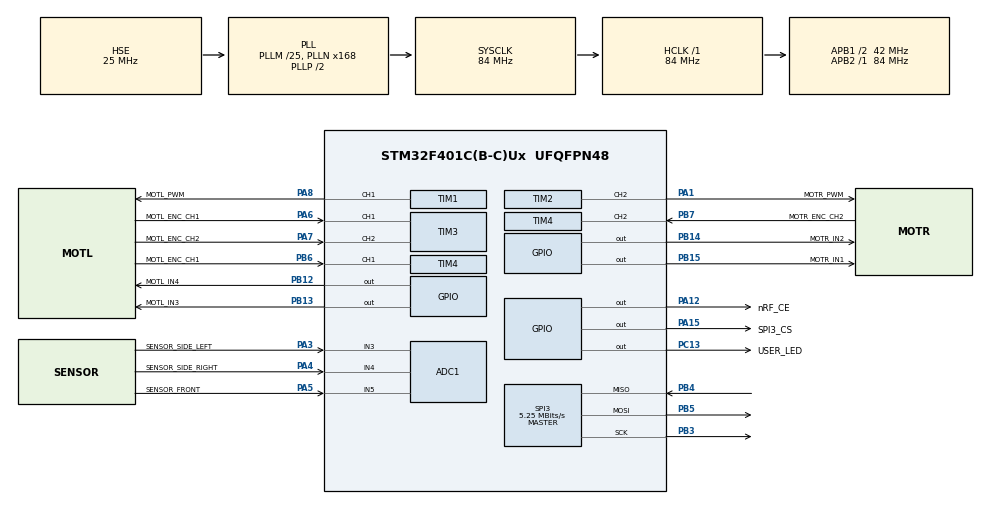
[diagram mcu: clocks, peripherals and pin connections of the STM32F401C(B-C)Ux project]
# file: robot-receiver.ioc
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ADC1.Channel-1\#ChannelRegularConversion=ADC_CHANNEL_3
ADC1.Channel-2\#ChannelRegularConversion=ADC_CHANNEL_4
ADC1.Channel-3\#ChannelRegularConversion=ADC_CHANNEL_5
ADC1.ContinuousConvMode=ENABLE
ADC1.DMAContinuousRequests=ENABLE
ADC1.EOCSelection=ADC_EOC_SEQ_CONV
ADC1.NbrOfConversion=3
ADC1.NbrOfConversionFlag=1
ADC1.Rank-1\#ChannelRegularConversion=1
ADC1.Rank-2\#ChannelRegularConversion=2
ADC1.Rank-3\#ChannelRegularConversion=3
ADC1.SamplingTime-1\#ChannelRegularConversion=ADC_SAMPLETIME_144CYCLES
ADC1.SamplingTime-2\#ChannelRegularConversion=ADC_SAMPLETIME_144CYCLES
ADC1.SamplingTime-3\#ChannelRegularConversion=ADC_SAMPLETIME_144CYCLES
ADC1.ScanConvMode=ENABLE
ADC1.master=1
Dma.ADC1.0.Direction=DMA_PERIPH_TO_MEMORY
Dma.ADC1.0.FIFOMode=DMA_FIFOMODE_DISABLE
Dma.ADC1.0.Instance=DMA2_Stream0
Dma.ADC1.0.MemDataAlignment=DMA_MDATAALIGN_WORD
Dma.ADC1.0.MemInc=DMA_MINC_ENABLE
Dma.ADC1.0.Mode=DMA_CIRCULAR
Dma.ADC1.0.PeriphDataAlignment=DMA_PDATAALIGN_WORD
Dma.ADC1.0.PeriphInc=DMA_PINC_DISABLE
Dma.ADC1.0.Priority=DMA_PRIORITY_LOW
Dma.Request0=ADC1
Mcu.Family=STM32F4
Mcu.Name=STM32F401C(B-C)Ux
Mcu.Package=UFQFPN48
NVIC.ADC_IRQn=true\:0\:0\:false\:false\:true\:true\:true\:true
NVIC.DMA2_Stream0_IRQn=true\:0\:0\:false\:false\:true\:false\:true\:true
NVIC.PriorityGroup=NVIC_PRIORITYGROUP_4
NVIC.TIM5_IRQn=true\:0\:0\:false\:false\:true\:true\:true\:true
PA1.GPIO_Label=MOTR_PWM
PA1.Signal=S_TIM2_CH2
PA12.GPIO_Label=nRF_CE
PA12.Signal=GPIO_Output
PA13.Mode=Serial_Wire
PA13.Signal=SYS_JTMS-SWDIO
PA14.Mode=Serial_Wire
PA14.Signal=SYS_JTCK-SWCLK
PA15.GPIO_Label=SPI3_CS
PA15.Signal=GPIO_Output
PA3.GPIO_Label=SENSOR_SIDE_LEFT
PA3.Signal=ADCx_IN3
PA4.GPIO_Label=SENSOR_SIDE_RIGHT
PA4.Signal=ADCx_IN4
PA5.GPIO_Label=SENSOR_FRONT
PA5.Signal=ADCx_IN5
PA6.GPIO_Label=MOTL_ENC_CH1
PA6.Signal=S_TIM3_CH1
PA7.GPIO_Label=MOTL_ENC_CH2
PA7.Signal=S_TIM3_CH2
PA8.GPIO_Label=MOTL_PWM
PA8.Signal=S_TIM1_CH1
PB12.GPIO_Label=MOTL_IN4
PB12.Signal=GPIO_Output
PB13.GPIO_Label=MOTL_IN3
PB13.Signal=GPIO_Output
PB14.GPIO_Label=MOTR_IN2
PB14.Signal=GPIO_Output
PB15.GPIO_Label=MOTR_IN1
PB15.Signal=GPIO_Output
PB3.Mode=Full_Duplex_Master
PB3.Signal=SPI3_SCK
PB4.Mode=Full_Duplex_Master
PB4.Signal=SPI3_MISO
PB5.Mode=Full_Duplex_Master
PB5.Signal=SPI3_MOSI
PB6.GPIO_Label=MOTL_ENC_CH1
PB6.Signal=S_TIM4_CH1
PB7.GPIO_Label=MOTR_ENC_CH2
PB7.Signal=S_TIM4_CH2
PC13-ANTI_TAMP.GPIO_Label=USER_LED
PC13-ANTI_TAMP.Signal=GPIO_Output
PH0\ -\ OSC_IN.Mode=HSE-External-Oscillator
PH0\ -\ OSC_IN.Signal=RCC_OSC_IN
PH1\ -\ OSC_OUT.Mode=HSE-External-Oscillator
PH1\ -\ OSC_OUT.Signal=RCC_OSC_OUT
ProjectManager.HeapSize=0x200
ProjectManager.StackSize=0x400
ProjectManager.TargetToolchain=MDK-ARM V5.27
RCC.48MHZClocksFreq_Value=42000000
RCC.AHBFreq_Value=84000000
RCC.APB1CLKDivider=RCC_HCLK_DIV2
RCC.APB1Freq_Value=42000000
RCC.APB1TimFreq_Value=84000000
RCC.APB2Freq_Value=84000000
RCC.APB2TimFreq_Value=84000000
RCC.CortexFreq_Value=84000000
RCC.HCLKFreq_Value=84000000
RCC.HSE_VALUE=25000000
RCC.HSI_VALUE=16000000
RCC.LSE_VALUE=32768
RCC.PLLM=25
RCC.PLLN=168
RCC.PLLSourceVirtual=RCC_PLLSOURCE_HSE
RCC.SYSCLKFreq_VALUE=84000000
RCC.SYSCLKSource=RCC_SYSCLKSOURCE_PLLCLK
RCC.VCOOutputFreq_Value=168000000
SH.ADCx_IN3.0=ADC1_IN3,IN3
SH.ADCx_IN4.0=ADC1_IN4,IN4
SH.ADCx_IN5.0=ADC1_IN5,IN5
SH.S_TIM1_CH1.0=TIM1_CH1,PWM Generation1 CH1
SH.S_TIM2_CH2.0=TIM2_CH2,PWM Generation2 CH2
SH.S_TIM3_CH1.0=TIM3_CH1,Encoder_Interface
SH.S_TIM3_CH2.0=TIM3_CH2,Encoder_Interface
SH.S_TIM4_CH1.0=TIM4_CH1,Encoder_Interface
SH.S_TIM4_CH2.0=TIM4_CH2,Encoder_Interface
SPI3.BaudRatePrescaler=SPI_BAUDRATEPRESCALER_8
SPI3.CalculateBaudRate=5.25 MBits/s
SPI3.Direction=SPI_DIRECTION_2LINES
SPI3.Mode=SPI_MODE_MASTER
SPI3.VirtualType=VM_MASTER
TIM1.Channel-PWM\ Generation1\ CH1=TIM_CHANNEL_1
TIM1.Period=1000-1
TIM1.Prescaler=42-1
TIM2.Channel-PWM\ Generation2\ CH2=TIM_CHANNEL_2
TIM2.Period=1000-1
TIM2.Prescaler=42-1
TIM3.EncoderMode=TIM_ENCODERMODE_TI12
TIM3.IC1Filter=15
TIM3.IC2Filter=15
TIM4.EncoderMode=TIM_ENCODERMODE_TI12
TIM4.IC1Filter=15
TIM4.IC2Filter=15
TIM5.Period=10000-1
TIM5.Prescaler=42-1
TIM5.TIM_MasterOutputTrigger=TIM_TRGO_UPDATE
VP_TIM1_VS_ClockSourceINT.Mode=Internal
VP_TIM2_VS_ClockSourceINT.Mode=Internal
VP_TIM5_VS_ClockSourceINT.Mode=Internal
board=custom

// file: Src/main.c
/* USER CODE BEGIN Header */
/**
  ******************************************************************************
  * @file           : main.c
  * @brief          : Main program body
  ******************************************************************************
  * @attention
  *
  * Copyright (c) 2022 STMicroelectronics.
  * All rights reserved.
  *
  * This software is licensed under terms that can be found in the LICENSE file
  * in the root directory of this software component.
  * If no LICENSE file comes with this software, it is provided AS-IS.
  *
  ******************************************************************************
  */
/* USER CODE END Header */
#include "main.h"
#include "adc.h"
#include "dma.h"
#include "spi.h"
#include "tim.h"
#include "gpio.h"

/* USER CODE BEGIN Includes */
#include "MY_NRF24.h"

#include "encoder.h"
#include "pid.h"
#include "motor.h"
#include "robot.h"
/* USER CODE END Includes */

/* USER CODE BEGIN PV */

sEncoder encoder_left;
sEncoder encoder_right;

sPid pid_left;
sPid pid_right;

sMotor motor_left;
sMotor motor_right;

sRadioFrame radio_frame;

sRobot Robot;

uint32_t led_tick = 0;
uint32_t received_packet = 0;

//nRF24
uint64_t rx_pipe_address = 0x1111111111;
uint32_t ack_payload = 123456;
uint16_t joystick[2];

/* USER CODE END PV */

void SystemClock_Config(void);
/* USER CODE BEGIN PFP */
void LED_UPDATE(void);
/* USER CODE END PFP */

int main(void)
{

  /* MCU Configuration--------------------------------------------------------*/

  /* Reset of all peripherals, Initializes the Flash interface and the Systick. */
  HAL_Init();

  /* Configure the system clock */
  SystemClock_Config();

  /* Initialize all configured peripherals */
  MX_GPIO_Init();
  MX_DMA_Init();
  MX_ADC1_Init();
  MX_TIM1_Init();
  MX_TIM2_Init();
  MX_TIM3_Init();
  MX_TIM4_Init();
  MX_TIM5_Init();
  MX_SPI3_Init();
  /* USER CODE BEGIN 2 */

	PID_INIT(&pid_left, 	0.1f, 0.03f, 0.001f, 3500);
	PID_INIT(&pid_right, 	0.095f, 0.021f, 0.001f, 3500);

	ENCODER_INIT(&encoder_left, 	&htim3);
	ENCODER_INIT(&encoder_right, 	&htim4);

	MOTOR_INIT(&motor_left, 	&htim1, TIM_CHANNEL_1, MOTL_IN4_GPIO_Port, MOTL_IN4_Pin, MOTL_IN3_GPIO_Port, MOTL_IN3_Pin, &encoder_left,  &pid_left);
	MOTOR_INIT(&motor_right, 	&htim2, TIM_CHANNEL_2, MOTR_IN1_GPIO_Port, MOTR_IN1_Pin, MOTR_IN2_GPIO_Port, MOTR_IN2_Pin, &encoder_right, &pid_right);

	ROBOT_INIT(&Robot, &motor_left, &motor_right, &radio_frame);

	HAL_TIM_Encoder_Start(Robot.motor_left->encoder->encoder_timer,  TIM_CHANNEL_ALL);
	HAL_TIM_Encoder_Start(Robot.motor_right->encoder->encoder_timer, TIM_CHANNEL_ALL);

	HAL_TIM_PWM_Start(Robot.motor_left->pwm_timer,  Robot.motor_left->pwm_timer_channel);
	HAL_TIM_PWM_Start(Robot.motor_right->pwm_timer, Robot.motor_right->pwm_timer_channel);

	HAL_TIM_Base_Start_IT(&htim5);

	NRF24_begin(GPIOA, SPI3_CS_Pin, nrf_CE_PIN, hspi3);

	NRF24_setAutoAck(true);
	NRF24_setChannel(50);
	NRF24_setPayloadSize(6);
	NRF24_openReadingPipe(1, rx_pipe_address);
	NRF24_enableDynamicPayloads();
	NRF24_enableAckPayload();

	NRF24_startListening();

  /* USER CODE END 2 */

  /* Infinite loop */
  while (1)
  {

    /* USER CODE BEGIN 3 */

		if(NRF24_available())
		{
			if(NRF24_read(Robot.radio_frame, 6))
			{
				received_packet++;
				NRF24_writeAckPayload(1, &ack_payload, 6);
			}
		}

		LED_UPDATE();
  }
  /* USER CODE END 3 */
}

void SystemClock_Config(void)
{
  RCC_OscInitTypeDef RCC_OscInitStruct = {0};
  RCC_ClkInitTypeDef RCC_ClkInitStruct = {0};

  /** Configure the main internal regulator output voltage
  */
  __HAL_RCC_PWR_CLK_ENABLE();
  __HAL_PWR_VOLTAGESCALING_CONFIG(PWR_REGULATOR_VOLTAGE_SCALE2);

  /** Initializes the RCC Oscillators according to the specified parameters
  * in the RCC_OscInitTypeDef structure.
  */
  RCC_OscInitStruct.OscillatorType = RCC_OSCILLATORTYPE_HSE;
  RCC_OscInitStruct.HSEState = RCC_HSE_ON;
  RCC_OscInitStruct.PLL.PLLState = RCC_PLL_ON;
  RCC_OscInitStruct.PLL.PLLSource = RCC_PLLSOURCE_HSE;
  RCC_OscInitStruct.PLL.PLLM = 25;
  RCC_OscInitStruct.PLL.PLLN = 168;
  RCC_OscInitStruct.PLL.PLLP = RCC_PLLP_DIV2;
  RCC_OscInitStruct.PLL.PLLQ = 4;
  if (HAL_RCC_OscConfig(&RCC_OscInitStruct) != HAL_OK)
  {
    Error_Handler();
  }

  /** Initializes the CPU, AHB and APB buses clocks
  */
  RCC_ClkInitStruct.ClockType = RCC_CLOCKTYPE_HCLK|RCC_CLOCKTYPE_SYSCLK
                              |RCC_CLOCKTYPE_PCLK1|RCC_CLOCKTYPE_PCLK2;
  RCC_ClkInitStruct.SYSCLKSource = RCC_SYSCLKSOURCE_PLLCLK;
  RCC_ClkInitStruct.AHBCLKDivider = RCC_SYSCLK_DIV1;
  RCC_ClkInitStruct.APB1CLKDivider = RCC_HCLK_DIV2;
  RCC_ClkInitStruct.APB2CLKDivider = RCC_HCLK_DIV1;

  if (HAL_RCC_ClockConfig(&RCC_ClkInitStruct, FLASH_LATENCY_2) != HAL_OK)
  {
    Error_Handler();
  }
}

/* USER CODE BEGIN 4 */
void LED_UPDATE(void)
{

	if(HAL_GetTick() - led_tick >= 250)
	{
		HAL_GPIO_TogglePin(USER_LED_GPIO_Port, USER_LED_Pin);
		led_tick = HAL_GetTick();
	}

}
void HAL_TIM_PeriodElapsedCallback(TIM_HandleTypeDef *htim)				// ################## przerwanie od TIMera aby uzyskac przerwanie co 1ms  ######################################################
{
  /* Prevent unused argument(s) compilation warning */
 //UNUSED(htim);

  /* NOTE : This function should not be modified, when the callback is needed,
            the HAL_TIM_PeriodElapsedCallback could be implemented in the user file
   */

	MOTOR_UPDATE_VELOCITY(Robot.motor_left);
	MOTOR_UPDATE_VELOCITY(Robot.motor_right);

	ROBOT_UPDATE_VELOCITY(&Robot);

	MOTOR_UPDATE_PID(Robot.motor_left);
	MOTOR_UPDATE_PID(Robot.motor_right);

	PID_CALCULATE(Robot.motor_left->pid);
	PID_CALCULATE(Robot.motor_right->pid);

	if(Robot.radio_frame->enable == 1)
	{
		MOTOR_UPDATE_PWM(Robot.motor_left);
		MOTOR_UPDATE_PWM(Robot.motor_right);
	}
	else
	{
		MOTOR_STOP(Robot.motor_left);
		MOTOR_STOP(Robot.motor_right);
		PID_RESET(Robot.motor_left->pid);
		PID_RESET(Robot.motor_right->pid);
	}
}
/* USER CODE END 4 */

void Error_Handler(void)
{
  __disable_irq();
  while (1)
  {
  }
}
